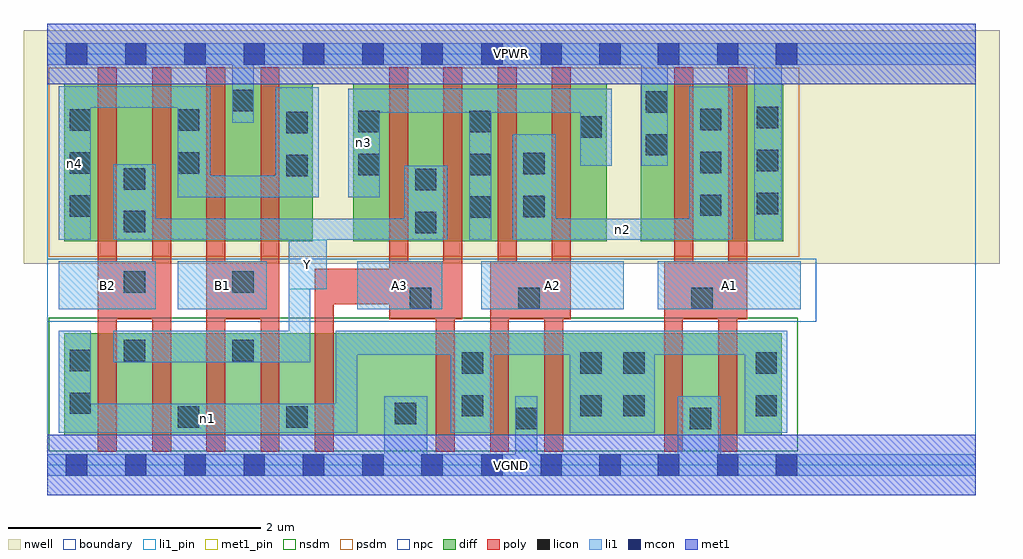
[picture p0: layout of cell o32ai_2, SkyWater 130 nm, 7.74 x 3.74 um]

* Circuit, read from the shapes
.subckt o32ai_2 A1 A2 A3 B1 B2 VGND VPWR Y n1 n2 n3 n4
XM1 Y B2 n1 VSUBS sky130_fd_pr__nfet_01v8 w=0.81 l=0.15 m=2
XM2 Y B1 n1 VSUBS sky130_fd_pr__nfet_01v8 w=0.81 l=0.15 m=2
XM3 VGND A3 n1 VSUBS sky130_fd_pr__nfet_01v8 w=0.81 l=0.15 m=2
XM4 VGND A2 n1 VSUBS sky130_fd_pr__nfet_01v8 w=0.81 l=0.15 m=2
XM5 VGND A1 n1 VSUBS sky130_fd_pr__nfet_01v8 w=0.81 l=0.15 m=2
XM6 Y B2 n4 n5 sky130_fd_pr__pfet_01v8 w=1.25 l=0.15 m=2
XM7 VPWR B1 n4 n5 sky130_fd_pr__pfet_01v8 w=1.25 l=0.15 m=2
XM8 Y A3 n3 n5 sky130_fd_pr__pfet_01v8 w=1.25 l=0.15 m=2
XM9 n2 A2 n3 n5 sky130_fd_pr__pfet_01v8 w=1.25 l=0.15 m=2
XM10 n2 A1 VPWR n5 sky130_fd_pr__pfet_01v8 w=1.25 l=0.15 m=2
.ends

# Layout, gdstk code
import gdstk
lib = gdstk.Library(unit=1e-6, precision=1e-09)
def R(c, l, rs):  # rectangles x0, y0, x1, y1
    for r in rs: c.add(gdstk.rectangle(r[:2], r[2:], *l))
def A(c, l, x, y, w, h, nx, ny, dx, dy):  # array of equal rectangles
    R(c, l, [(x+i*dx, y+j*dy, x+i*dx+w, y+j*dy+h) for i in range(nx) for j in range(ny)])
nwell = (64, 20)
diff = (65, 20)
poly = (66, 20)
licon = (66, 44)
li1_pin = (67, 16)
li1 = (67, 20)
mcon = (67, 44)
met1_pin = (68, 16)
met1 = (68, 20)
nsdm = (93, 44)
psdm = (94, 20)
npc = (95, 20)
boundary = (235, 4)

o32ai_2 = lib.new_cell('o32ai_2')
R(o32ai_2, nwell, [(-0.19,1.595,7.55,3.45), (0,1.595,7.36,3.45)])
R(o32ai_2, diff, [(0.135,0.235,5.825,1.045), (0.135,1.775,2.105,3.025), (2.425,1.775,4.435,3.025), (4.705,1.775,5.835,3.025)])
A(o32ai_2, poly, 0.4, 0.105, 0.15, 3.05, 4, 1, 0.43, 0)
A(o32ai_2, poly, 3.08, 0.105, 0.15, 1.51, 3, 1, 0.43, 0)
A(o32ai_2, poly, 2.71, 1.155, 0.15, 2, 4, 1, 0.43, 0)
R(o32ai_2, poly, [(2.12,0.105,2.27,1.555), (4.89,0.105,5.04,1.615), (5.32,0.105,5.47,1.615), (0.4,1.155,0.98,1.615), (1.26,1.155,1.84,1.615), (2.71,1.155,3.29,1.615), (3.51,1.155,4.15,1.615), (4.89,1.155,5.55,1.615), (4.97,1.155,5.12,3.155), (5.4,1.155,5.55,3.155), (2.12,1.275,3.29,1.555)])
A(o32ai_2, licon, 3.345, 1.96, 0.17, 0.17, 1, 3, 0, 0.34)
A(o32ai_2, licon, 0.175, 1.97, 0.17, 0.17, 1, 3, 0, 0.34)
A(o32ai_2, licon, 5.175, 1.975, 0.17, 0.17, 1, 3, 0, 0.34)
A(o32ai_2, licon, 5.625, 1.99, 0.17, 0.17, 1, 3, 0, 0.34)
R(o32ai_2, licon, [(3.715,0.285,3.885,0.455), (5.095,0.285,5.265,0.455), (1.035,0.295,1.205,0.465), (1.895,0.295,2.065,0.465), (2.755,0.325,2.925,0.495), (3.285,0.385,3.455,0.555), (4.225,0.385,4.395,0.555), (4.565,0.385,4.735,0.555), (5.615,0.385,5.785,0.555), (0.175,0.405,0.345,0.575), (3.285,0.725,3.455,0.895), (4.225,0.725,4.395,0.895), (4.565,0.725,4.735,0.895), (5.615,0.725,5.785,0.895), (0.175,0.745,0.345,0.915), (0.605,0.825,0.775,0.995), (1.465,0.825,1.635,0.995), (2.875,1.235,3.045,1.405), (3.735,1.235,3.905,1.405), (5.105,1.235,5.275,1.405), (0.605,1.365,0.775,1.535), (1.465,1.365,1.635,1.535), (2.915,1.84,3.085,2.01), (0.605,1.845,0.775,2.015), (3.775,1.965,3.945,2.135), (2.915,2.18,3.085,2.35), (0.605,2.185,0.775,2.355), (1.895,2.29,2.065,2.46), (2.465,2.3,2.635,2.47), (3.775,2.305,3.945,2.475), (1.035,2.31,1.205,2.48), (4.745,2.455,4.915,2.625), (4.225,2.595,4.395,2.765), (1.895,2.63,2.065,2.8), (2.465,2.64,2.635,2.81), (1.035,2.65,1.205,2.82), (4.745,2.795,4.915,2.965), (1.465,2.805,1.635,2.975)])
R(o32ai_2, li1_pin, [(0.09,1.235,0.86,1.615), (1.035,1.235,1.74,1.615), (2.455,1.235,3.13,1.615), (3.44,1.235,4.57,1.615), (4.84,1.235,5.975,1.615), (1.915,1.395,2.215,1.785)])
R(o32ai_2, li1, [(0,-0.085,7.36,0.085), (2.67,-0.085,3.01,0.545), (3.71,-0.085,3.885,0.545), (5,-0.085,5.34,0.545), (0.09,0.255,2.455,0.485), (0.09,0.255,0.345,1.065), (2.285,0.255,2.455,1.065), (3.2,0.255,3.54,1.065), (4.14,0.255,4.815,1.065), (5.53,0.255,5.865,1.065), (0.52,0.815,2.085,1.065), (1.915,0.815,2.085,1.955), (2.285,0.875,5.865,1.065), (0.09,1.235,0.86,1.615), (1.035,1.235,1.74,1.615), (2.455,1.235,3.13,1.615), (3.44,1.235,4.57,1.615), (4.84,1.235,5.975,1.615), (1.915,1.395,2.215,1.785), (0.09,1.785,0.345,3.005), (0.52,1.785,3.17,1.955), (0.52,1.785,0.86,2.385), (2.83,1.785,3.17,2.375), (3.345,1.785,3.52,2.985), (3.69,1.785,5.43,1.955), (3.69,1.785,4.03,2.625), (5.09,1.785,5.43,3), (5.605,1.785,5.825,3.345), (1.035,2.125,1.29,3.005), (1.035,2.125,2.15,2.295), (1.81,2.125,2.15,2.995), (2.385,2.125,2.635,2.985), (4.225,2.375,4.475,2.985), (4.71,2.375,4.92,3.345), (1.465,2.715,1.635,3.345), (2.385,2.795,4.475,2.985), (0.09,2.835,1.29,3.005), (0,3.175,7.36,3.345)])
A(o32ai_2, mcon, 0.145, -0.085, 0.17, 0.17, 7, 2, 0.47, 3.26)
A(o32ai_2, mcon, 3.91, -0.085, 0.17, 0.17, 3, 2, 0.465, 3.26)
R(o32ai_2, mcon, [(3.44,-0.085,3.61,0.085), (5.31,-0.085,5.48,0.085), (5.775,-0.085,5.945,0.085), (3.44,3.175,3.61,3.345), (5.31,3.175,5.48,3.345), (5.775,3.175,5.945,3.345)])
R(o32ai_2, met1_pin, [(0,-0.24,7.36,0.24), (0,3.02,7.36,3.5)])
R(o32ai_2, met1, [(0,-0.24,7.36,0.24), (0,3.02,7.36,3.5)])
R(o32ai_2, nsdm, [(0.01,0.11,5.95,1.17)])
R(o32ai_2, psdm, [(0.01,1.65,5.96,3.15)])
R(o32ai_2, npc, [(0,1.135,6.095,1.635)])
R(o32ai_2, boundary, [(0,0,7.36,3.26)])
o32ai_2.add(gdstk.Label('A1', (5.407,1.425), layer=67, texttype=5))
o32ai_2.add(gdstk.Label('A2', (4.005,1.425), layer=67, texttype=5))
o32ai_2.add(gdstk.Label('A3', (2.792,1.425), layer=67, texttype=5))
o32ai_2.add(gdstk.Label('B1', (1.387,1.425), layer=67, texttype=5))
o32ai_2.add(gdstk.Label('B2', (0.475,1.425), layer=67, texttype=5))
o32ai_2.add(gdstk.Label('Y', (2.065,1.59), layer=67, texttype=5))
o32ai_2.add(gdstk.Label('n1', (1.272,0.37), layer=67, texttype=5))
o32ai_2.add(gdstk.Label('n3', (2.51,2.555), layer=67, texttype=5))
o32ai_2.add(gdstk.Label('n2', (4.56,1.87), layer=67, texttype=5))
o32ai_2.add(gdstk.Label('n4', (0.217,2.395), layer=67, texttype=5))
o32ai_2.add(gdstk.Label('VPWR', (3.68,3.26), layer=68, texttype=5))
o32ai_2.add(gdstk.Label('VGND', (3.68,0), layer=68, texttype=5))
o32ai_2.add(gdstk.Label('A1', (5.407,1.425), layer=67, texttype=16))
o32ai_2.add(gdstk.Label('A2', (4.005,1.425), layer=67, texttype=16))
o32ai_2.add(gdstk.Label('A3', (2.792,1.425), layer=67, texttype=16))
o32ai_2.add(gdstk.Label('B1', (1.387,1.425), layer=67, texttype=16))
o32ai_2.add(gdstk.Label('B2', (0.475,1.425), layer=67, texttype=16))
o32ai_2.add(gdstk.Label('Y', (2.065,1.59), layer=67, texttype=16))
o32ai_2.add(gdstk.Label('VPWR', (3.68,3.26), layer=68, texttype=16))
o32ai_2.add(gdstk.Label('VGND', (3.68,0), layer=68, texttype=16))

lib.write_gds('o32ai_2.gds')
